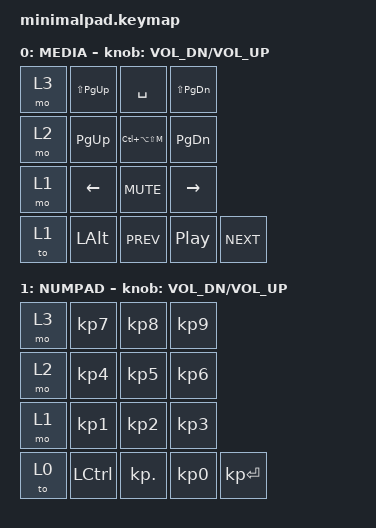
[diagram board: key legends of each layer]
#include <behaviors.dtsi>
#include <dt-bindings/zmk/keys.h>
#include <dt-bindings/zmk/bt.h>
#include <dt-bindings/zmk/rgb.h>
#include <dt-bindings/zmk/outputs.h>

#define MEDIA 0
#define NUMPAD 1

/ {
    sensors {
        compatible = "zmk,keymap-sensors";
        sensors = <&encoder0>;
        triggers-per-rotation = <10>;
    };

    behaviors {
        // Encoder rotation → RGB brightness (used on the BT+LED layer).
        // inc_dec_kp only wraps key presses, so RGB needs a dedicated
        // sensor-rotate behavior. CW = brighter, CCW = dimmer.
        rgb_encoder: rgb_encoder {
            compatible = "zmk,behavior-sensor-rotate";
            #sensor-binding-cells = <0>;
            bindings = <&rgb_ug RGB_BRI>, <&rgb_ug RGB_BRD>;
        };
    };

    keymap {
        compatible = "zmk,keymap";
        media_layer {
            display-name = "MEDIA";
            bindings = <
                &mo 3     &kp LS(PG_UP)  &kp SPACE     &kp LS(PG_DN)
                &mo 2     &kp PG_UP      &kp LC(LA(LS(M)))  &kp PG_DN
                &mo 1     &kp LEFT       &kp C_MUTE    &kp RIGHT
                &to 1     &kp LALT       &kp C_PREV    &kp C_PP       &kp C_NEXT
            >;
            sensor-bindings = <&inc_dec_kp C_VOL_DN C_VOL_UP>;
        };


        numpad_layer {
            display-name = "NUMPAD";
            bindings = <
                &mo 3     &kp KP_N7      &kp KP_N8     &kp KP_N9
                &mo 2     &kp KP_N4      &kp KP_N5     &kp KP_N6
                &mo 1     &kp KP_N1      &kp KP_N2     &kp KP_N3
                &to 0     &kp LCTRL      &kp KP_DOT    &kp KP_N0      &kp KP_ENTER
            >;
            sensor-bindings = <&inc_dec_kp C_VOL_DN C_VOL_UP>;
        };

        extra_1 {
            status = "reserved";
        };

        extra_2 {
            status = "reserved";
        };

        extra_3 {
            status = "reserved";
        };
    };
};
